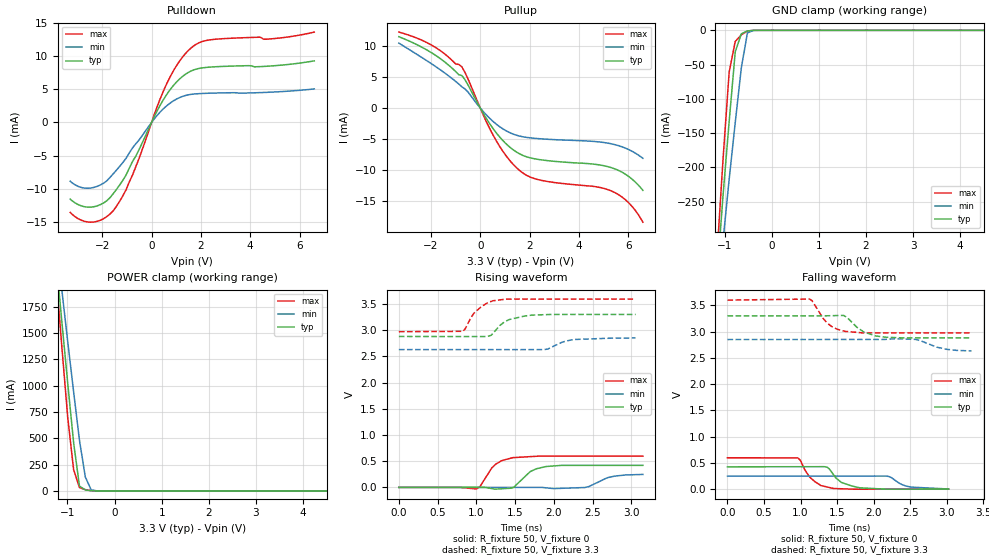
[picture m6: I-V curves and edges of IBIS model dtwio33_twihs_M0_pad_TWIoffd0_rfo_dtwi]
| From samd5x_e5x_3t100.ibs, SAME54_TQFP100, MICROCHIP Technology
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|   MODEL : dtwio33_twihs_M0_pad_TWIoffd0_rfo_dtwi
[Model] dtwio33_twihs_M0_pad_TWIoffd0_rfo_dtwi
Model_type I/O
Vinl  =  1.08
Vinh  =  2.52
Vmeas =  1.800
Vref  =  1.800
Rref  =  0
| Capacitance   typ   min   max
C_comp   2.784873902828523e-12   2.747149697823698e-12   2.829214035416891e-12
[Model Spec]
| Subparameter   typ   min   max
Vinl   0.99   0.855   1.08
Vinh   2.31   1.995   2.52
Vmeas   1.65   1.425   1.8
Vref   1.65   1.425   1.8
| Variables   typ   min   max
[GND Clamp Reference]   0   0   0
[POWER Clamp Reference]   3.3   2.85   3.6
[Pulldown Reference]   0   0   0
[Pullup Reference]   3.3   2.85   3.6
[Temperature Range]   25   125   -40
[Voltage Range]   3.3   2.85   3.6
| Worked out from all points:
|   slope of the pulldown table from 0 to 0.495 V, typ, clamps not added: 141 ohm
|   slope of the pullup table from 0 to 0.495 V, typ, clamps not added: 157 ohm
|   GND clamp passes 1 mA (typ) near -0.52 V on its own axis
|   POWER clamp passes 1 mA (typ) near -0.45 V on its own axis
|   falling waveform, R_fixture 50, V_fixture 0: 20-80 % time 232ps typ, 207ps min, 201ps max; typ from 0.426 V to 0.001 V
|   falling waveform, R_fixture 50, V_fixture 3.3: 20-80 % time 250ps typ, 280ps min, 214ps max; typ from 3.3 V to 2.88 V
|   rising waveform, R_fixture 50, V_fixture 0: 20-80 % time 206ps typ, 232ps min, 198ps max; typ from 0 V to 0.42 V
|   rising waveform, R_fixture 50, V_fixture 3.3: 20-80 % time 237ps typ, 235ps min, 205ps max; typ from 2.88 V to 3.3 V
[GND Clamp]
| Voltage   I(typ)   I(min)   I(max)
-3.3V     -2.811A    -2.445A    -3.176A
-1.164V   -360.2mA   -405.6mA   -328.3mA
-1.034V   -240.3mA   -306.5mA   -187.3mA
-905.2mV  -133.1mA   -217.4mA   -60.91mA
-775.9mV  -31.3mA    -134.4mA   -16.16mA
-646.6mV  -5.011mA   -54.58mA   -6.682mA
-517.2mV  -877.7uA   -3.713mA   -1.027mA
-387.9mV  -28.27uA   -139.7uA   -15.46uA
-258.6mV  -322.1nA   -3.949uA   -86.04nA
6.6V      0A         0A         0A
[POWER Clamp]
| Voltage   I(typ)   I(min)   I(max)
-3.3V     12.4A      10.96A     13.78A
-1.241V   2.197A     2.4A       2.047A
-1.117V   1.601A     1.903A     1.361A
-993.1mV  1.019A     1.416A     693.9mA
-869mV    458.6mA    942.1mA    202.4mA
-744.8mV  45.82mA    481.5mA    31.67mA
-620.7mV  9.704mA    132.6mA    12mA
-496.6mV  1.64mA     10.16mA    2.55mA
-372.4mV  58.76uA    488.7uA    132.1uA
6.6V      0A         0A         0A
[Pulldown]
| Voltage   I(typ)   I(min)   I(max)
-3.3V     -11.54mA   -8.843mA   -13.55mA
-2.457V   -12.75mA   -9.869mA   -15.02mA
-1.94V    -12.1mA    -9.129mA   -14.47mA
-1.552V   -10.7mA    -7.717mA   -13.28mA
-775.9mV  -5.89mA    -3.853mA   -7.931mA
227.6mV   1.759mA    1.073mA    2.404mA
682.8mV   4.587mA    2.721mA    6.363mA
1.138V    6.556mA    3.751mA    9.264mA
1.707V    7.913mA    4.279mA    11.52mA
2.503V    8.369mA    4.422mA    12.5mA
4.79V     8.493mA    4.556mA    12.57mA
6.6V      9.279mA    5.05mA     13.61mA
[Pullup]
| Voltage   I(typ)   I(min)   I(max)
-3.3V     11.45mA    10.43mA    12.2mA
-1.986V   8.904mA    7.13mA     10.13mA
-744.8mV  5.216mA    3.41mA     6.615mA
-496.6mV  3.718mA    2.571mA    4.684mA
113.8mV   -801uA     -531.7uA   -1.036mA
569mV     -3.569mA   -2.328mA   -4.695mA
1.138V    -6.082mA   -3.848mA   -8.143mA
1.707V    -7.587mA   -4.613mA   -10.39mA
2.503V    -8.356mA   -4.971mA   -11.65mA
5.24V     -9.498mA   -5.699mA   -13.21mA
6.016V    -10.99mA   -6.673mA   -15.22mA
6.6V      -13.25mA   -8.092mA   -18.36mA
[Ramp]
dV/dt_r   0.255756/0.211742n  0.149934/0.237222n  0.35937/0.200406n
dV/dt_f   0.253134/0.255832n  0.133025/0.288569n  0.379018/0.220747n
R_load = 50
[Falling Waveform]
R_fixture = 50
V_fixture = 0
V_fixture_min = 0
V_fixture_max = 0
| Time   V(typ)   V(min)   V(max)
0s        426.3mV    249.9mV    598.9mV
962.6ps   428.4mV    250.7mV    596.2mV
1.198ns   429mV      250.8mV    142.3mV
1.365ns   418.5mV    251mV      41.68mV
1.452ns   275.3mV    251mV      13.6mV
1.558ns   130mV      251.1mV    8.724mV
1.814ns   26.67mV    251.3mV    1.051mV
2.172ns   1.427mV    251.6mV    1.05mV
2.513ns   1.426mV    40.1mV     1.049mV
3.026ns   1.424mV    3.975mV    1.047mV
[Falling Waveform]
R_fixture = 50
V_fixture = 3.3
V_fixture_min = 2.85
V_fixture_max = 3.6
| Time   V(typ)   V(min)   V(max)
0s        3.3V       2.85V      3.6V
1.122ns   3.3V       2.85V      3.62V
1.156ns   3.3V       2.85V      3.593V
1.372ns   3.302V     2.85V      3.154V
1.61ns    3.292V     2.85V      3.005V
1.865ns   2.993V     2.851V     2.977V
2.028ns   2.918V     2.851V     2.977V
2.572ns   2.882V     2.853V     2.977V
3.002ns   2.882V     2.663V     2.977V
3.34ns    2.882V     2.632V     2.977V
[Rising Waveform]
R_fixture = 50
V_fixture = 0
V_fixture_min = 0
V_fixture_max = 0
| Time   V(typ)   V(min)   V(max)
0s        68.26nV    210.7nV    182.9nV
1.002ns   539.1uV    -345.9uV   -30.02mV
1.042ns   560.8uV    -359.9uV   6.37mV
1.251ns   -32.9mV    -432.1uV   444.2mV
1.47ns    -2.607mV   -507.9uV   567.3mV
1.693ns   300.5mV    -585uV     586.4mV
1.901ns   398.4mV    -8.751mV   595.8mV
2.398ns   420.4mV    -2.47mV    595.8mV
2.78ns    420.4mV    214.5mV    595.8mV
3.148ns   420.4mV    247.2mV    595.8mV
[Rising Waveform]
R_fixture = 50
V_fixture = 3.3
V_fixture_min = 2.85
V_fixture_max = 3.6
| Time   V(typ)   V(min)   V(max)
0s        2.878V     2.628V     2.968V
824.6ps   2.876V     2.628V     2.976V
968.7ps   2.876V     2.627V     3.321V
1.139ns   2.876V     2.627V     3.516V
1.216ns   2.941V     2.627V     3.559V
1.365ns   3.16V      2.627V     3.587V
1.62ns    3.267V     2.627V     3.591V
1.919ns   3.296V     2.638V     3.591V
2.279ns   3.298V     2.821V     3.591V
3.053ns   3.298V     2.85V      3.591V
